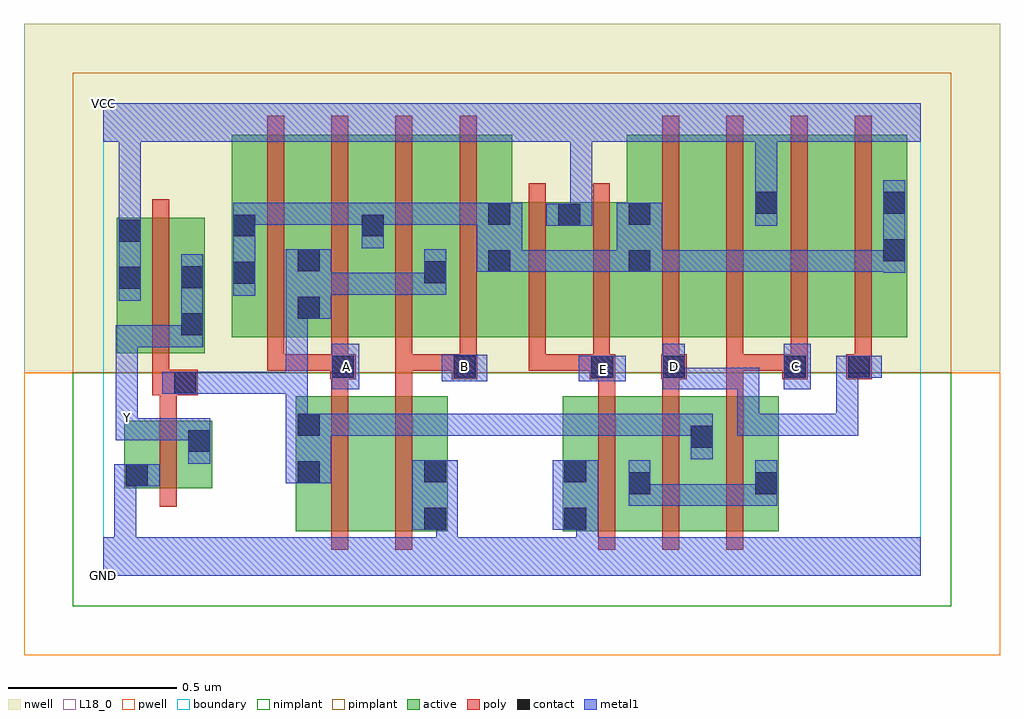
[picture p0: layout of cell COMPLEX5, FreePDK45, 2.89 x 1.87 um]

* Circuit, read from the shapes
.subckt COMPLEX5 A B C D E GND VCC Y
M1 Y n1 GND VSUBS nfet w=0.2u l=0.05u
M2 n2 A n1 VSUBS nfet w=0.4u l=0.05u
M3 GND B n2 VSUBS nfet w=0.4u l=0.05u
M4 n3 E GND VSUBS nfet w=0.4u l=0.05u
M5 n1 D n3 VSUBS nfet w=0.4u l=0.05u
M6 n3 C n1 VSUBS nfet w=0.4u l=0.05u
M7 Y n1 VCC n4 pfet w=0.4u l=0.05u
M8 n1 A n5 n4 pfet w=0.6u l=0.05u m=2
M9 n1 B n5 n4 pfet w=0.6u l=0.05u m=2
M10 VCC E n5 n4 pfet w=0.4u l=0.05u m=2
M11 n6 D n5 n4 pfet w=0.6u l=0.05u
M12 VCC C n6 n4 pfet w=0.6u l=0.05u
M13 n7 C VCC n4 pfet w=0.6u l=0.05u
M14 n5 D n7 n4 pfet w=0.6u l=0.05u
.ends

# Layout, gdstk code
import gdstk
lib = gdstk.Library(unit=1e-6, precision=1e-09)
def R(c, l, rs):  # rectangles x0, y0, x1, y1
    for r in rs: c.add(gdstk.rectangle(r[:2], r[2:], *l))
def A(c, l, x, y, w, h, nx, ny, dx, dy):  # array of equal rectangles
    R(c, l, [(x+i*dx, y+j*dy, x+i*dx+w, y+j*dy+h) for i in range(nx) for j in range(ny)])
active = (1, 0)
pwell = (2, 0)
nwell = (3, 0)
nimplant = (4, 0)
pimplant = (5, 0)
poly = (9, 0)
contact = (10, 0)
metal1 = (11, 0)
L18_0 = (18, 0)
boundary = (235, 0)

complex5 = lib.new_cell('COMPLEX5')
R(complex5, active, [(0.57,0.132,0.795,0.532), (0.795,0.132,1.02,0.532), (0.945,0.132,1.02,0.532), (1.36,0.132,1.625,0.532), (1.36,0.132,1.435,0.532), (1.55,0.132,1.81,0.532), (1.735,0.132,2,0.532), (0.57,0.147,0.675,0.532), (1.55,0.147,1.625,0.492), (1.735,0.147,1.81,0.492), (1.925,0.147,2,0.532), (0.062,0.26,0.322,0.46), (0.062,0.26,0.137,0.46), (0.247,0.347,0.322,0.46), (0.04,0.66,0.3,1.06), (0.04,0.66,0.115,1.06), (0.225,0.66,0.3,1.057), (0.38,0.707,0.455,1.2), (0.38,0.707,0.645,1.307), (0.57,0.707,0.835,1.307), (0.57,0.707,0.645,1.07), (0.76,0.707,0.835,1.2), (0.76,0.707,1.02,1.307), (0.945,0.707,1.21,1.307), (0.945,0.707,1.02,1.07), (1.135,0.707,1.21,1.2), (1.135,0.707,1.417,1.107), (1.342,0.707,1.625,1.107), (1.55,0.707,1.775,1.307), (1.775,0.707,2,1.307), (1.925,0.707,2.155,1.307), (1.925,0.707,2,1.307), (2.155,0.707,2.38,1.307), (2.305,0.707,2.38,1.2), (1.342,0.802,1.417,1.107), (1.55,0.895,1.625,1.2)])
R(complex5, pwell, [(-0.235,-0.235,2.655,0.602)])
R(complex5, nwell, [(-0.235,0.602,2.655,1.635)])
R(complex5, nimplant, [(-0.09,-0.09,2.51,0.602)])
R(complex5, pimplant, [(-0.09,0.602,2.51,1.49)])
A(complex5, poly, 1.465, 0.077, 0.05, 0.51, 3, 1, 0.19, 0)
A(complex5, poly, 0.485, 0.607, 0.05, 0.095, 4, 1, 0.19, 0)
A(complex5, poly, 1.655, 0.607, 0.05, 0.095, 4, 1, 0.19, 0)
A(complex5, poly, 0.485, 0.652, 0.05, 0.71, 4, 1, 0.19, 0)
A(complex5, poly, 1.655, 0.652, 0.05, 0.71, 4, 1, 0.19, 0)
R(complex5, poly, [(0.675,0.077,0.725,0.587), (0.865,0.077,0.915,0.587), (0.167,0.205,0.217,0.515), (0.167,0.465,0.217,0.585), (0.145,0.535,0.28,0.61), (0.675,0.537,0.725,0.632), (0.865,0.537,0.915,0.657), (1.465,0.537,1.515,0.632), (1.655,0.537,1.705,0.632), (1.845,0.537,1.895,0.657), (0.145,0.56,0.195,0.655), (0.672,0.582,0.747,0.657), (1.032,0.582,1.107,0.657), (1.44,0.582,1.515,0.657), (1.652,0.582,1.727,0.657), (2.01,0.582,2.085,0.657), (2.2,0.582,2.275,0.657), (0.145,0.605,0.195,1.115), (0.485,0.607,0.535,0.657), (0.485,0.607,0.722,0.657), (0.672,0.607,0.722,0.657), (0.672,0.607,0.722,0.657), (0.865,0.607,0.915,0.657), (0.865,0.607,1.082,0.657), (1.032,0.607,1.082,0.657), (1.032,0.607,1.082,0.657), (1.26,0.607,1.31,0.702), (1.26,0.607,1.31,0.657), (1.26,0.607,1.49,0.657), (1.44,0.607,1.49,0.657), (1.44,0.607,1.49,0.657), (1.45,0.607,1.5,0.702), (1.845,0.607,2.06,0.657), (1.845,0.607,1.895,0.657), (1.845,0.607,1.895,0.657), (1.845,0.607,1.895,0.657), (1.26,0.652,1.31,1.162), (1.45,0.652,1.5,1.162)])
R(complex5, contact, [(0.95,0.137,1.015,0.202), (1.365,0.137,1.43,0.202), (1.555,0.242,1.62,0.307), (1.93,0.242,1.995,0.307), (0.067,0.265,0.132,0.33), (0.575,0.275,0.64,0.34), (0.95,0.277,1.015,0.342), (1.365,0.277,1.43,0.342), (0.252,0.367,0.317,0.432), (1.74,0.38,1.805,0.445), (0.575,0.415,0.64,0.48), (0.21,0.54,0.275,0.605), (0.677,0.587,0.742,0.652), (1.037,0.587,1.102,0.652), (1.445,0.587,1.51,0.652), (1.657,0.587,1.722,0.652), (2.015,0.587,2.08,0.652), (2.205,0.587,2.27,0.652), (0.23,0.712,0.295,0.777), (0.575,0.762,0.64,0.827), (0.045,0.85,0.11,0.915), (0.23,0.852,0.295,0.917), (0.385,0.865,0.45,0.93), (0.95,0.867,1.015,0.932), (1.14,0.9,1.205,0.965), (1.555,0.9,1.62,0.965), (0.575,0.902,0.64,0.967), (2.31,0.932,2.375,0.997), (0.045,0.99,0.11,1.055), (0.385,1.005,0.45,1.07), (0.765,1.005,0.83,1.07), (1.347,1.037,1.412,1.102), (1.14,1.04,1.205,1.105), (1.555,1.04,1.62,1.105), (1.93,1.072,1.995,1.137), (2.31,1.072,2.375,1.137)])
R(complex5, metal1, [(0,0,2.42,0.115), (0.032,0.05,0.097,0.115), (0.032,0.05,0.097,0.115), (0.032,0.05,0.097,0.115), (0.032,0.05,0.097,0.115), (0.032,0.05,0.097,0.33), (0.985,0.05,1.05,0.202), (1.4,0.05,1.465,0.202), (0.915,0.137,1.05,0.342), (1.33,0.137,1.465,0.342), (1.555,0.207,1.62,0.342), (1.555,0.207,1.792,0.272), (1.727,0.207,1.792,0.272), (1.727,0.207,1.792,0.272), (1.727,0.207,1.792,0.272), (1.727,0.207,1.942,0.272), (1.877,0.207,1.942,0.272), (1.877,0.207,1.995,0.272), (1.93,0.207,1.995,0.342), (0.032,0.265,0.167,0.33), (0.54,0.275,0.675,0.48), (0.252,0.332,0.317,0.467), (1.74,0.345,1.805,0.48), (0.037,0.402,0.102,0.467), (0.037,0.402,0.102,0.467), (0.037,0.402,0.102,0.467), (0.037,0.402,0.102,0.467), (0.037,0.402,0.102,0.537), (0.037,0.402,0.317,0.467), (0.54,0.415,0.605,0.605), (0.61,0.415,0.675,0.48), (0.61,0.415,0.675,0.48), (0.61,0.415,0.842,0.48), (0.777,0.415,0.842,0.48), (0.777,0.415,0.842,0.48), (0.777,0.415,0.842,0.48), (0.777,0.415,1.032,0.48), (0.967,0.415,1.032,0.48), (0.967,0.415,1.032,0.48), (0.967,0.415,1.032,0.48), (0.967,0.415,1.24,0.48), (1.175,0.415,1.24,0.48), (1.175,0.415,1.24,0.48), (1.175,0.415,1.24,0.48), (1.175,0.415,1.377,0.48), (1.312,0.415,1.377,0.48), (1.312,0.415,1.585,0.48), (1.52,0.415,1.585,0.48), (1.52,0.415,1.585,0.48), (1.52,0.415,1.585,0.48), (1.52,0.415,1.805,0.48), (1.74,0.415,1.805,0.48), (1.74,0.415,1.805,0.48), (1.877,0.415,1.942,0.48), (1.877,0.415,2.08,0.48), (1.877,0.415,1.942,0.617), (2.015,0.415,2.08,0.48), (2.015,0.415,2.235,0.48), (2.17,0.415,2.235,0.48), (2.17,0.415,2.235,0.652), (0.037,0.472,0.102,0.742), (0.175,0.54,0.31,0.605), (0.245,0.54,0.31,0.605), (0.245,0.54,0.31,0.605), (0.245,0.54,0.467,0.605), (0.402,0.54,0.467,0.605), (0.402,0.54,0.467,0.605), (0.402,0.54,0.467,0.605), (0.402,0.54,0.605,0.605), (0.54,0.54,0.605,0.605), (0.54,0.54,0.605,0.827), (0.677,0.552,0.757,0.687), (1.657,0.552,1.722,0.687), (1.657,0.552,1.805,0.617), (1.74,0.552,1.805,0.617), (1.74,0.552,1.942,0.617), (1.877,0.552,1.942,0.617), (1.877,0.552,1.942,0.617), (1.877,0.552,1.942,0.617), (2.015,0.552,2.095,0.687), (1.002,0.577,1.137,0.655), (1.407,0.577,1.547,0.652), (2.17,0.587,2.235,0.652), (2.17,0.587,2.235,0.652), (2.17,0.587,2.305,0.652), (0.037,0.677,0.102,0.742), (0.037,0.677,0.102,0.742), (0.037,0.677,0.102,0.742), (0.037,0.677,0.295,0.742), (0.23,0.677,0.295,0.952), (0.54,0.762,0.675,0.967), (0.045,0.815,0.11,1.09), (0.385,0.83,0.45,1.105), (0.61,0.832,0.675,0.897), (0.61,0.832,0.675,0.897), (0.61,0.832,0.842,0.897), (0.777,0.832,0.842,0.897), (0.777,0.832,0.842,0.897), (0.777,0.832,0.842,0.897), (0.777,0.832,1.015,0.897), (0.95,0.832,1.015,0.967), (2.31,0.897,2.375,1.172), (1.105,0.9,1.24,1.105), (1.175,0.9,1.24,0.965), (1.175,0.9,1.24,0.965), (1.175,0.9,1.24,0.965), (1.175,0.9,1.24,0.965), (1.175,0.9,1.447,0.965), (1.382,0.9,1.447,0.965), (1.382,0.9,1.585,0.965), (1.52,0.9,1.585,0.965), (1.52,0.9,1.585,0.965), (1.52,0.9,1.655,1.105), (1.59,0.9,1.792,0.965), (1.727,0.9,1.792,0.965), (1.727,0.9,1.792,0.965), (1.727,0.9,1.792,0.965), (1.727,0.9,1.942,0.965), (1.877,0.9,1.942,0.965), (1.877,0.9,1.942,0.965), (1.877,0.9,1.942,0.965), (1.877,0.9,2.097,0.965), (2.032,0.9,2.097,0.965), (2.032,0.9,2.097,0.965), (2.032,0.9,2.097,0.965), (2.032,0.9,2.375,0.965), (2.31,0.9,2.375,0.965), (2.31,0.9,2.375,0.965), (0.765,0.97,0.83,1.105), (0.045,1.025,0.11,1.35), (1.312,1.037,1.447,1.102), (1.382,1.037,1.447,1.35), (1.93,1.037,1.995,1.172), (0.385,1.04,0.45,1.105), (0.385,1.04,0.45,1.105), (0.385,1.04,0.692,1.105), (0.627,1.04,0.692,1.105), (0.627,1.04,0.692,1.105), (0.627,1.04,0.692,1.105), (0.627,1.04,0.83,1.105), (0.765,1.04,0.83,1.105), (0.765,1.04,0.83,1.105), (0.765,1.04,1.032,1.105), (0.967,1.04,1.032,1.105), (0.967,1.04,1.032,1.105), (0.967,1.04,1.032,1.105), (0.967,1.04,1.17,1.105), (1.93,1.107,1.995,1.35), (0,1.285,2.42,1.4), (0.045,1.285,0.11,1.35), (0.045,1.285,0.11,1.35), (1.382,1.285,1.447,1.35), (1.382,1.285,1.447,1.35)])
R(complex5, L18_0, [(0,0,2.42,0.115), (0.032,0.05,0.097,0.115), (0.032,0.05,0.097,0.115), (0.032,0.05,0.097,0.115), (0.032,0.05,0.097,0.115), (0.032,0.05,0.097,0.33), (0.985,0.05,1.05,0.202), (1.4,0.05,1.465,0.202), (0.915,0.137,1.05,0.342), (1.33,0.137,1.465,0.342), (0.032,0.265,0.167,0.33), (0.252,0.332,0.317,0.467), (0.037,0.402,0.102,0.467), (0.037,0.402,0.102,0.467), (0.037,0.402,0.102,0.467), (0.037,0.402,0.102,0.467), (0.037,0.402,0.102,0.537), (0.037,0.402,0.317,0.467), (1.877,0.415,1.942,0.48), (1.877,0.415,1.942,0.617), (1.877,0.415,2.08,0.48), (2.015,0.415,2.08,0.48), (2.015,0.415,2.235,0.48), (2.17,0.415,2.235,0.48), (2.17,0.415,2.235,0.652), (0.037,0.437,0.102,0.502), (0.037,0.472,0.102,0.742), (0.677,0.552,0.757,0.687), (1.657,0.552,1.722,0.687), (1.657,0.552,1.805,0.617), (1.74,0.552,1.805,0.617), (1.74,0.552,1.942,0.617), (1.877,0.552,1.942,0.617), (1.877,0.552,1.942,0.617), (1.877,0.552,1.942,0.617), (2.015,0.552,2.095,0.687), (1.002,0.577,1.137,0.655), (1.407,0.577,1.547,0.652), (1.447,0.577,1.512,0.642), (0.687,0.587,0.752,0.652), (1.037,0.587,1.102,0.652), (1.657,0.587,1.722,0.652), (2.017,0.587,2.082,0.652), (2.17,0.587,2.235,0.652), (2.17,0.587,2.235,0.652), (2.17,0.587,2.305,0.652), (0.037,0.677,0.102,0.742), (0.037,0.677,0.102,0.742), (0.037,0.677,0.102,0.742), (0.037,0.677,0.295,0.742), (0.23,0.677,0.295,0.952), (0.045,0.815,0.11,1.09), (0.045,1.025,0.11,1.35), (1.312,1.037,1.447,1.102), (1.382,1.037,1.447,1.35), (1.93,1.037,1.995,1.172), (1.93,1.107,1.995,1.35), (0,1.285,2.42,1.4), (0.045,1.285,0.11,1.35), (0.045,1.285,0.11,1.35), (1.382,1.285,1.447,1.35), (1.382,1.285,1.447,1.35)])
R(complex5, boundary, [(0,0,2.42,1.4)])
complex5.add(gdstk.Label('A', (0.72,0.62), layer=11, texttype=0))
complex5.add(gdstk.Label('B', (1.07,0.62), layer=11, texttype=0))
complex5.add(gdstk.Label('C', (2.05,0.62), layer=11, texttype=0))
complex5.add(gdstk.Label('D', (1.69,0.62), layer=11, texttype=0))
complex5.add(gdstk.Label('E', (1.48,0.61), layer=11, texttype=0))
complex5.add(gdstk.Label('Y', (0.07,0.47), layer=11, texttype=0))
complex5.add(gdstk.Label('VCC', (0,1.4), layer=11, texttype=0))
complex5.add(gdstk.Label('GND', (0,0), layer=11, texttype=0))

lib.write_gds('COMPLEX5.gds')
